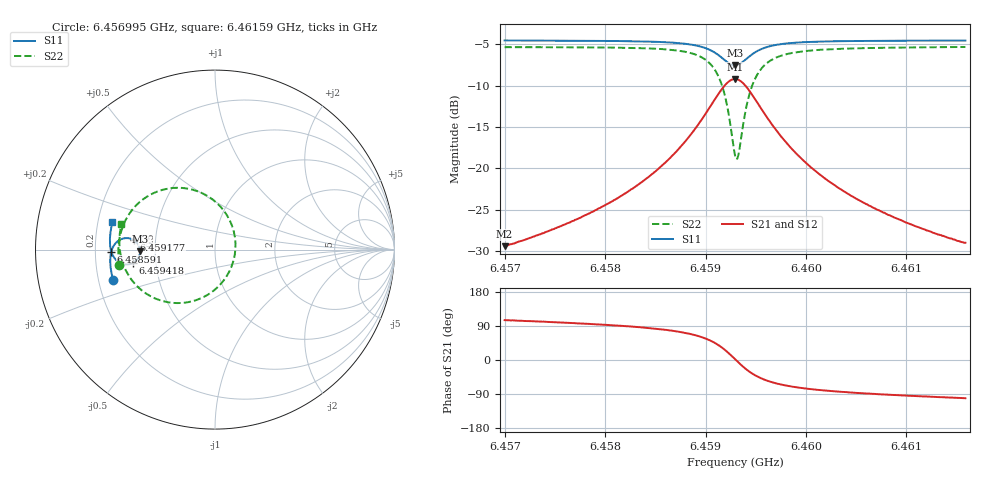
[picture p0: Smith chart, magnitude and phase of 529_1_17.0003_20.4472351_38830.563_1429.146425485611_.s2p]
#  HZ  S  RI  R  50.00
! Rohde & Schwarz Vector Network Analyzer
! Rohde-Schwarz,ZNB20-2Port,1311601062101988,3.16
! Created: UTC 3/20/2024, 11:15:49 PM
! freq[Hz]  re:S11  im:S11  re:S21  im:S21  re:S12  im:S12  re:S22  im:S22
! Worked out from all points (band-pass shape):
!   401 points, 6.456995 GHz to 6.46159 GHz, reference 50 ohm
!   highest |S21| = -9.21 dB at 6.459292 GHz (marker M1); lowest = -29.4 dB at 6.456995 GHz (marker M2)
!   |S21| within 3 dB of the highest: 6.459063 GHz to 6.459522 GHz (459.5 kHz wide, 0.00711 % of centre)
!   lowest |S11| = -7.6 dB at 6.459292 GHz (marker M3), VSWR 2.44, Z = 20.5 - j0.462 ohm
!   |S11| at or under -10 dB: nowhere
!   |S22| runs from -18.9 to -5.3 dB; largest |S21 - S12| = 0.014
!   S11 on the Smith chart (normalised r, x): 6.456995 GHz: 0.26, -0.14; 6.458591 GHz: 0.27, -0.01; 6.459177 GHz: 0.37, +0.05; 6.459418 GHz: 0.37, -0.07; 6.46159 GHz: 0.26, +0.12
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6.4569947e9  -0.567 -0.1709  -0.00889 0.0326  -0.00714 0.0325  -0.533 -0.0834
6.4577643e9  -0.581 -0.1036  -0.00538 0.0505  -0.00294 0.0499  -0.5382 0.00687
6.4582008e9  -0.5838 -0.0597  0.000729 0.0707  0.00406 0.0693  -0.5294 0.0766
6.458534e9  -0.5798 -0.0198  0.0144 0.0989  0.0184 0.0961  -0.5041 0.1522
6.4585914e9  -0.578 -0.0118  0.0188 0.1057  0.0229 0.1026  -0.496 0.1687
6.4587982e9  -0.565 0.0202  0.0464 0.1381  0.0506 0.1332  -0.4441 0.2415
6.4589475e9  -0.5422 0.0466  0.0918 0.1686  0.095 0.1618  -0.3602 0.3059
6.4590854e9  -0.4984 0.064  0.1791 0.1851  0.18 0.1776  -0.2004 0.3443
6.4591773e9  -0.4538 0.0538  0.269 0.1537  0.2693 0.1479  -0.0336 0.2936
6.4592462e9  -0.4247 0.0217  0.3296 0.0817  0.3318 0.0764  0.082 0.1635
6.4592921e9  -0.4179 -0.00928  0.346 0.0136  0.3496 0.0067  0.1141 0.0363
6.4593036e9  -0.4182 -0.0174  0.346 -0.00417  0.3496 -0.0119  0.1136 0.00246
6.4593266e9  -0.4218 -0.033  0.3402 -0.039  0.3442 -0.0482  0.1025 -0.0636
6.4593725e9  -0.4374 -0.0592  0.3116 -0.099  0.3137 -0.111  0.0443 -0.177
6.4594185e9  -0.4596 -0.0754  0.2693 -0.1401  0.2683 -0.1534  -0.0411 -0.2521
6.4595104e9  -0.503 -0.0824  0.1843 -0.1711  0.178 -0.1829  -0.2108 -0.2979
6.4596597e9  -0.5468 -0.0618  0.0961 -0.157  0.0875 -0.1633  -0.379 -0.2478
6.459832e9  -0.5694 -0.0321  0.049 -0.1274  0.0416 -0.1299  -0.4631 -0.1706
6.4600618e9  -0.5812 0.00151  0.022 -0.0975  0.0163 -0.098  -0.5074 -0.0926
6.4603949e9  -0.5854 0.0413  0.00649 -0.0711  0.00229 -0.0708  -0.5284 -0.0155
6.4608314e9  -0.5836 0.0852  -0.00158 -0.052  -0.00439 -0.0511  -0.5328 0.055
6.4615896e9  -0.5713 0.1524  -0.00665 -0.0348  -0.0083 -0.0336  -0.5211 0.1449
